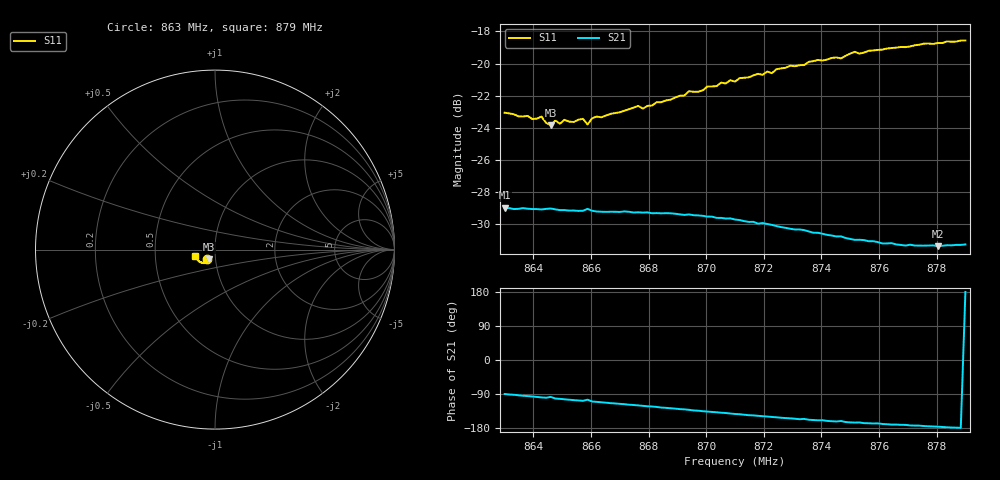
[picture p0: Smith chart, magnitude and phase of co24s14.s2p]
# HZ S RI R 50
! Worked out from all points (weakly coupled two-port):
!   101 points, 863 MHz to 879 MHz, reference 50 ohm
!   highest |S21| = -28.98 dB at 863 MHz (marker M1); lowest = -31.4 dB at 878.04 MHz (marker M2)
!   lowest |S11| = -23.8 dB at 864.6 MHz (marker M3), VSWR 1.14, Z = 46.5 - j5.12 ohm
!   |S11| at or under -10 dB: start of sweep to end of sweep
!   S12 and S22 are empty: the file has one direction only
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8.63e8  -0.0446 -0.0544  0.000168 -0.0356  0 0  0 0
8.6396e8  -0.0394 -0.0545  -0.00383 -0.0351  0 0  0 0
8.6428e8  -0.0388 -0.0563  -0.00535 -0.0348  0 0  0 0
8.646e8  -0.0337 -0.0548  -0.00461 -0.0351  0 0  0 0
8.6476e8  -0.0373 -0.0551  -0.00711 -0.0345  0 0  0 0
8.6492e8  -0.0359 -0.0542  -0.0076 -0.0342  0 0  0 0
8.6508e8  -0.0361 -0.0562  -0.0083 -0.034  0 0  0 0
8.654e8  -0.0354 -0.0555  -0.00957 -0.0336  0 0  0 0
8.6572e8  -0.0345 -0.0578  -0.0106 -0.0332  0 0  0 0
8.6588e8  -0.0311 -0.0567  -0.00897 -0.0342  0 0  0 0
8.662e8  -0.0347 -0.059  -0.0122 -0.0324  0 0  0 0
8.6844e8  -0.0367 -0.0663  -0.0199 -0.0278  0 0  0 0
8.6924e8  -0.039 -0.0693  -0.0218 -0.0258  0 0  0 0
8.694e8  -0.0406 -0.0713  -0.0225 -0.0255  0 0  0 0
8.6972e8  -0.0405 -0.071  -0.0233 -0.0243  0 0  0 0
8.7052e8  -0.047 -0.0735  -0.025 -0.0217  0 0  0 0
8.71e8  -0.0488 -0.0731  -0.0259 -0.02  0 0  0 0
8.7372e8  -0.0696 -0.0743  -0.0277 -0.011  0 0  0 0
8.7516e8  -0.0831 -0.0703  -0.0273 -0.00726  0 0  0 0
8.7644e8  -0.0937 -0.061  -0.0272 -0.00458  0 0  0 0
8.7804e8  -0.1053 -0.0484  -0.027 -0.0019  0 0  0 0
8.79e8  -0.1117 -0.0382  -0.0274 0.000168  0 0  0 0
